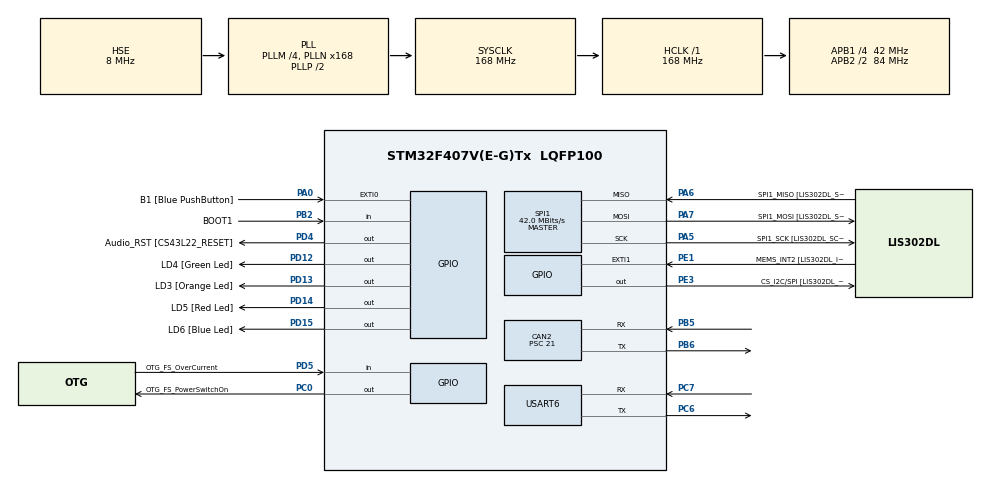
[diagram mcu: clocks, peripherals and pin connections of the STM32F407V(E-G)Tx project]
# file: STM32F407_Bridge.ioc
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CAN2.ABOM=DISABLE
CAN2.AWUM=DISABLE
CAN2.BS1=CAN_BS1_14TQ
CAN2.BS2=CAN_BS2_5TQ
CAN2.CalculateBaudRate=100000
CAN2.CalculateTimeBit=10000
CAN2.CalculateTimeQuantum=500.0
CAN2.Mode=CAN_MODE_NORMAL
CAN2.NART=DISABLE
CAN2.Prescaler=21
CAN2.RFLM=DISABLE
CAN2.SJW=CAN_SJW_1TQ
CAN2.TXFP=DISABLE
Mcu.Family=STM32F4
Mcu.Name=STM32F407V(E-G)Tx
Mcu.Package=LQFP100
NVIC.CAN2_RX0_IRQn=true\:0\:0\:false\:false\:true\:true\:true\:true
NVIC.CAN2_RX1_IRQn=true\:0\:0\:false\:false\:true\:true\:true\:true
NVIC.CAN2_SCE_IRQn=true\:0\:0\:false\:false\:true\:true\:true\:true
NVIC.CAN2_TX_IRQn=true\:0\:0\:false\:false\:true\:true\:true\:true
NVIC.PriorityGroup=NVIC_PRIORITYGROUP_0
NVIC.TIM8_TRG_COM_TIM14_IRQn=true\:0\:0\:false\:false\:true\:true\:true\:true
NVIC.USART6_IRQn=true\:0\:0\:false\:false\:true\:true\:true\:true
PA0-WKUP.GPIO_Label=B1 [Blue PushButton]
PA0-WKUP.GPIO_ModeDefaultEXTI=GPIO_MODE_EVT_RISING
PA0-WKUP.GPIO_PuPd=GPIO_NOPULL
PA0-WKUP.Signal=GPXTI0
PA10.GPIO_Label=OTG_FS_ID
PA10.GPIO_Mode=GPIO_MODE_AF_PP
PA10.GPIO_PuPd=GPIO_NOPULL
PA10.GPIO_Speed=GPIO_SPEED_FREQ_LOW
PA10.Signal=USB_OTG_FS_ID
PA11.GPIO_Label=OTG_FS_DM
PA11.GPIO_Mode=GPIO_MODE_AF_PP
PA11.GPIO_PuPd=GPIO_NOPULL
PA11.GPIO_Speed=GPIO_SPEED_FREQ_LOW
PA11.Signal=USB_OTG_FS_DM
PA12.GPIO_Label=OTG_FS_DP
PA12.GPIO_Mode=GPIO_MODE_AF_PP
PA12.GPIO_PuPd=GPIO_NOPULL
PA12.GPIO_Speed=GPIO_SPEED_FREQ_LOW
PA12.Signal=USB_OTG_FS_DP
PA13.GPIO_Label=SWDIO
PA13.Mode=Serial_Wire
PA13.Signal=SYS_JTMS-SWDIO
PA14.GPIO_Label=SWCLK
PA14.Mode=Serial_Wire
PA14.Signal=SYS_JTCK-SWCLK
PA4.GPIO_Label=I2S3_WS [CS43L22_LRCK]
PA4.GPIO_Mode=GPIO_MODE_AF_PP
PA4.GPIO_PuPd=GPIO_NOPULL
PA4.GPIO_Speed=GPIO_SPEED_FREQ_LOW
PA4.Signal=I2S3_WS
PA5.GPIO_Label=SPI1_SCK [LIS302DL_SCL/SPC]
PA5.GPIO_Mode=GPIO_MODE_AF_PP
PA5.GPIO_PuPd=GPIO_NOPULL
PA5.GPIO_Speed=GPIO_SPEED_FREQ_LOW
PA5.Mode=Full_Duplex_Master
PA5.Signal=SPI1_SCK
PA6.GPIO_Label=SPI1_MISO [LIS302DL_SDO]
PA6.GPIO_Mode=GPIO_MODE_AF_PP
PA6.GPIO_PuPd=GPIO_NOPULL
PA6.GPIO_Speed=GPIO_SPEED_FREQ_LOW
PA6.Mode=Full_Duplex_Master
PA6.Signal=SPI1_MISO
PA7.GPIO_Label=SPI1_MOSI [LIS302DL_SDA/SDI/SDO]
PA7.GPIO_Mode=GPIO_MODE_AF_PP
PA7.GPIO_PuPd=GPIO_NOPULL
PA7.GPIO_Speed=GPIO_SPEED_FREQ_LOW
PA7.Mode=Full_Duplex_Master
PA7.Signal=SPI1_MOSI
PA9.GPIO_Label=VBUS_FS
PA9.GPIO_Mode=GPIO_MODE_INPUT
PA9.GPIO_PuPd=GPIO_NOPULL
PA9.Signal=USB_OTG_FS_VBUS
PB10.GPIO_Label=CLK_IN [MP45DT02_CLK]
PB10.GPIO_Mode=GPIO_MODE_AF_PP
PB10.GPIO_PuPd=GPIO_NOPULL
PB10.GPIO_Speed=GPIO_SPEED_FREQ_LOW
PB10.Signal=I2S2_CK
PB2.GPIO_Label=BOOT1
PB2.GPIO_Mode=GPIO_MODE_INPUT
PB2.GPIO_PuPd=GPIO_NOPULL
PB2.Signal=GPIO_Input
PB3.GPIO_Label=SWO
PB3.Signal=SYS_JTDO-SWO
PB5.Mode=CAN_Activate
PB5.Signal=CAN2_RX
PB6.Mode=CAN_Activate
PB6.Signal=CAN2_TX
PB9.GPIO_Label=Audio_SDA [CS43L22_SDA]
PB9.GPIO_Mode=GPIO_MODE_AF_OD
PB9.GPIO_Pu=GPIO_PULLUP
PB9.GPIO_PuPd=GPIO_NOPULL
PB9.GPIO_Speed=GPIO_SPEED_FREQ_LOW
PB9.Signal=I2C1_SDA
PC0.GPIO_Label=OTG_FS_PowerSwitchOn
PC0.GPIO_PuPd=GPIO_NOPULL
PC0.GPIO_Speed=GPIO_SPEED_FREQ_LOW
PC0.PinState=GPIO_PIN_SET
PC0.Signal=GPIO_Output
PC10.GPIO_Label=I2S3_SCK [CS43L22_SCLK]
PC10.GPIO_Mode=GPIO_MODE_AF_PP
PC10.GPIO_PuPd=GPIO_NOPULL
PC10.GPIO_Speed=GPIO_SPEED_FREQ_LOW
PC10.Signal=I2S3_CK
PC12.GPIO_Label=I2S3_SD [CS43L22_SDIN]
PC12.GPIO_Mode=GPIO_MODE_AF_PP
PC12.GPIO_PuPd=GPIO_NOPULL
PC12.GPIO_Speed=GPIO_SPEED_FREQ_LOW
PC12.Signal=I2S3_SD
PC14-OSC32_IN.GPIO_Label=PC14-OSC32_IN
PC14-OSC32_IN.Mode=LSE-External-Oscillator
PC14-OSC32_IN.Signal=RCC_OSC32_IN
PC15-OSC32_OUT.GPIO_Label=PC15-OSC32_OUT
PC15-OSC32_OUT.Mode=LSE-External-Oscillator
PC15-OSC32_OUT.Signal=RCC_OSC32_OUT
PC3.GPIO_Label=PDM_OUT [MP45DT02_DOUT]
PC3.GPIO_Mode=GPIO_MODE_AF_PP
PC3.GPIO_PuPd=GPIO_NOPULL
PC3.GPIO_Speed=GPIO_SPEED_FREQ_LOW
PC3.Signal=I2S2_SD
PC6.Mode=Asynchronous
PC6.Signal=USART6_TX
PC7.Mode=Asynchronous
PC7.Signal=USART6_RX
PD0.Signal=CAN1_RX
PD12.GPIO_Label=LD4 [Green Led]
PD12.GPIO_PuPd=GPIO_NOPULL
PD12.GPIO_Speed=GPIO_SPEED_FREQ_LOW
PD12.Signal=GPIO_Output
PD13.GPIO_Label=LD3 [Orange Led]
PD13.GPIO_PuPd=GPIO_NOPULL
PD13.GPIO_Speed=GPIO_SPEED_FREQ_LOW
PD13.Signal=GPIO_Output
PD14.GPIO_Label=LD5 [Red Led]
PD14.GPIO_PuPd=GPIO_NOPULL
PD14.GPIO_Speed=GPIO_SPEED_FREQ_LOW
PD14.Signal=GPIO_Output
PD15.GPIO_Label=LD6 [Blue Led]
PD15.GPIO_PuPd=GPIO_NOPULL
PD15.GPIO_Speed=GPIO_SPEED_FREQ_LOW
PD15.Signal=GPIO_Output
PD4.GPIO_Label=Audio_RST [CS43L22_RESET]
PD4.GPIO_PuPd=GPIO_NOPULL
PD4.GPIO_Speed=GPIO_SPEED_FREQ_LOW
PD4.Signal=GPIO_Output
PD5.GPIO_Label=OTG_FS_OverCurrent
PD5.GPIO_Mode=GPIO_MODE_INPUT
PD5.GPIO_PuPd=GPIO_NOPULL
PD5.Signal=GPIO_Input
PE1.GPIO_Label=MEMS_INT2 [LIS302DL_INT2]
PE1.GPIO_ModeDefaultEXTI=GPIO_MODE_EVT_RISING
PE1.GPIO_PuPd=GPIO_NOPULL
PE1.Signal=GPXTI1
PE3.GPIO_Label=CS_I2C/SPI [LIS302DL_CS_I2C/SPI]
PE3.GPIO_PuPd=GPIO_NOPULL
PE3.GPIO_Speed=GPIO_SPEED_FREQ_LOW
PE3.Signal=GPIO_Output
PH0-OSC_IN.GPIO_Label=PH0-OSC_IN
PH0-OSC_IN.Mode=HSE-External-Oscillator
PH0-OSC_IN.Signal=RCC_OSC_IN
PH1-OSC_OUT.GPIO_Label=PH1-OSC_OUT
PH1-OSC_OUT.Mode=HSE-External-Oscillator
PH1-OSC_OUT.Signal=RCC_OSC_OUT
ProjectManager.HeapSize=0x200
ProjectManager.StackSize=0x400
ProjectManager.TargetToolchain=STM32CubeIDE
RCC.48MHZClocksFreq_Value=48000000
RCC.AHBFreq_Value=168000000
RCC.APB1CLKDivider=RCC_HCLK_DIV4
RCC.APB1Freq_Value=42000000
RCC.APB1TimFreq_Value=84000000
RCC.APB2CLKDivider=RCC_HCLK_DIV2
RCC.APB2Freq_Value=84000000
RCC.APB2TimFreq_Value=168000000
RCC.CortexFreq_Value=168000000
RCC.HCLKFreq_Value=168000000
RCC.HSE_VALUE=8000000
RCC.HSI_VALUE=16000000
RCC.PLLI2SN=50
RCC.PLLM=4
RCC.PLLN=168
RCC.PLLQ=7
RCC.PLLSourceVirtual=RCC_PLLSOURCE_HSE
RCC.SYSCLKFreq_VALUE=168000000
RCC.SYSCLKSource=RCC_SYSCLKSOURCE_PLLCLK
RCC.VCOOutputFreq_Value=336000000
SPI1.BaudRatePrescaler=SPI_BAUDRATEPRESCALER_2
SPI1.BaudRatePrescaler-Full_Duplex_Master=SPI_BAUDRATEPRESCALER_2
SPI1.CalculateBaudRate=42.0 MBits/s
SPI1.CalculateBaudRate-Full_Duplex_Master=42.0 MBits/s
SPI1.Direction=SPI_DIRECTION_2LINES
SPI1.Mode=SPI_MODE_MASTER
SPI1.Mode-Full_Duplex_Master=SPI_MODE_MASTER
SPI1.VirtualType=VM_MASTER
TIM14.Period=1000
TIM14.Prescaler=83
USART6.VirtualMode=VM_ASYNC
VP_TIM14_VS_ClockSourceINT.Mode=Enable_Timer
board=STM32F407G-DISC1

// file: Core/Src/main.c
/* USER CODE BEGIN Header */
/**
  ******************************************************************************
  * @file           : main.c
  * @brief          : Main program body
  ******************************************************************************
  * @attention
  *
  * Copyright (c) 2022 STMicroelectronics.
  * All rights reserved.
  *
  * This software is licensed under terms that can be found in the LICENSE file
  * in the root directory of this software component.
  * If no LICENSE file comes with this software, it is provided AS-IS.
  *
  ******************************************************************************
  */
/* USER CODE END Header */
#include "main.h"

/* USER CODE BEGIN Includes */
#include <stdio.h>
#include "CO_app_STM32.h"
#include "UART_Queue.h"
/* USER CODE END Includes */

/* USER CODE BEGIN PD */
#define log_printf(macropar_message, ...) printf(macropar_message, ##__VA_ARGS__)
#define CANOPEN_ID 5
/* USER CODE END PD */

CAN_HandleTypeDef hcan2;

SPI_HandleTypeDef hspi1;

TIM_HandleTypeDef htim14;

UART_HandleTypeDef huart6;

void SystemClock_Config(void);
static void MX_GPIO_Init(void);
static void MX_SPI1_Init(void);
static void MX_TIM14_Init(void);
static void MX_CAN2_Init(void);
static void MX_USART6_UART_Init(void);
/* USER CODE BEGIN PFP */
void RTC_Monitor(void);
/* USER CODE END PFP */

/* USER CODE BEGIN 0 */
/* Timer interrupt function executes every 1 ms */
void
HAL_TIM_PeriodElapsedCallback(TIM_HandleTypeDef* htim) {
    if (htim == canopenNodeSTM32->timerHandle) {
        canopen_app_interrupt();
    }
}
/* USER CODE END 0 */

int main(void)
{

  /* MCU Configuration--------------------------------------------------------*/

  /* Reset of all peripherals, Initializes the Flash interface and the Systick. */
  HAL_Init();

  /* Configure the system clock */
  SystemClock_Config();

  /* Initialize all configured peripherals */
  MX_GPIO_Init();
  MX_SPI1_Init();
  MX_TIM14_Init();
  MX_CAN2_Init();
  MX_USART6_UART_Init();
  /* USER CODE BEGIN 2 */
  CANopenNodeSTM32 canOpenNodeSTM32;
  canOpenNodeSTM32.CANHandle = &hcan2;
  canOpenNodeSTM32.HWInitFunction = MX_CAN2_Init;
  canOpenNodeSTM32.timerHandle = &htim14;
  canOpenNodeSTM32.desiredNodeID = CANOPEN_ID;
  canOpenNodeSTM32.baudrate = 100;
  canopen_app_init(&canOpenNodeSTM32);
  /* USER CODE END 2 */

  /* Infinite loop */
  /* USER CODE BEGIN WHILE */
  while (1)
  {
	  HAL_GPIO_WritePin(LD3_GPIO_Port, LD3_Pin, !canOpenNodeSTM32.outStatusLEDGreen);
	  HAL_GPIO_WritePin(LD4_GPIO_Port, LD4_Pin, !canOpenNodeSTM32.outStatusLEDRed);
	  canopen_app_process();
	  ProcessUartQueue();
    /* USER CODE END WHILE */

  }
}

void SystemClock_Config(void)
{
  RCC_OscInitTypeDef RCC_OscInitStruct = {0};
  RCC_ClkInitTypeDef RCC_ClkInitStruct = {0};

  /** Configure the main internal regulator output voltage
  */
  __HAL_RCC_PWR_CLK_ENABLE();
  __HAL_PWR_VOLTAGESCALING_CONFIG(PWR_REGULATOR_VOLTAGE_SCALE1);

  /** Initializes the RCC Oscillators according to the specified parameters
  * in the RCC_OscInitTypeDef structure.
  */
  RCC_OscInitStruct.OscillatorType = RCC_OSCILLATORTYPE_HSE;
  RCC_OscInitStruct.HSEState = RCC_HSE_ON;
  RCC_OscInitStruct.PLL.PLLState = RCC_PLL_ON;
  RCC_OscInitStruct.PLL.PLLSource = RCC_PLLSOURCE_HSE;
  RCC_OscInitStruct.PLL.PLLM = 4;
  RCC_OscInitStruct.PLL.PLLN = 168;
  RCC_OscInitStruct.PLL.PLLP = RCC_PLLP_DIV2;
  RCC_OscInitStruct.PLL.PLLQ = 7;
  if (HAL_RCC_OscConfig(&RCC_OscInitStruct) != HAL_OK)
  {
    Error_Handler();
  }

  /** Initializes the CPU, AHB and APB buses clocks
  */
  RCC_ClkInitStruct.ClockType = RCC_CLOCKTYPE_HCLK|RCC_CLOCKTYPE_SYSCLK
                              |RCC_CLOCKTYPE_PCLK1|RCC_CLOCKTYPE_PCLK2;
  RCC_ClkInitStruct.SYSCLKSource = RCC_SYSCLKSOURCE_PLLCLK;
  RCC_ClkInitStruct.AHBCLKDivider = RCC_SYSCLK_DIV1;
  RCC_ClkInitStruct.APB1CLKDivider = RCC_HCLK_DIV4;
  RCC_ClkInitStruct.APB2CLKDivider = RCC_HCLK_DIV2;

  if (HAL_RCC_ClockConfig(&RCC_ClkInitStruct, FLASH_LATENCY_5) != HAL_OK)
  {
    Error_Handler();
  }
}

static void MX_CAN2_Init(void)
{

  hcan2.Instance = CAN2;
  hcan2.Init.Prescaler = 21;
  hcan2.Init.Mode = CAN_MODE_NORMAL;
  hcan2.Init.SyncJumpWidth = CAN_SJW_1TQ;
  hcan2.Init.TimeSeg1 = CAN_BS1_14TQ;
  hcan2.Init.TimeSeg2 = CAN_BS2_5TQ;
  hcan2.Init.TimeTriggeredMode = DISABLE;
  hcan2.Init.AutoBusOff = DISABLE;
  hcan2.Init.AutoWakeUp = DISABLE;
  hcan2.Init.AutoRetransmission = DISABLE;
  hcan2.Init.ReceiveFifoLocked = DISABLE;
  hcan2.Init.TransmitFifoPriority = DISABLE;
  if (HAL_CAN_Init(&hcan2) != HAL_OK)
  {
    Error_Handler();
  }

}

static void MX_SPI1_Init(void)
{

  /* SPI1 parameter configuration*/
  hspi1.Instance = SPI1;
  hspi1.Init.Mode = SPI_MODE_MASTER;
  hspi1.Init.Direction = SPI_DIRECTION_2LINES;
  hspi1.Init.DataSize = SPI_DATASIZE_8BIT;
  hspi1.Init.CLKPolarity = SPI_POLARITY_LOW;
  hspi1.Init.CLKPhase = SPI_PHASE_1EDGE;
  hspi1.Init.NSS = SPI_NSS_SOFT;
  hspi1.Init.BaudRatePrescaler = SPI_BAUDRATEPRESCALER_2;
  hspi1.Init.FirstBit = SPI_FIRSTBIT_MSB;
  hspi1.Init.TIMode = SPI_TIMODE_DISABLE;
  hspi1.Init.CRCCalculation = SPI_CRCCALCULATION_DISABLE;
  hspi1.Init.CRCPolynomial = 10;
  if (HAL_SPI_Init(&hspi1) != HAL_OK)
  {
    Error_Handler();
  }

}

static void MX_TIM14_Init(void)
{

  htim14.Instance = TIM14;
  htim14.Init.Prescaler = 83;
  htim14.Init.CounterMode = TIM_COUNTERMODE_UP;
  htim14.Init.Period = 1000;
  htim14.Init.ClockDivision = TIM_CLOCKDIVISION_DIV1;
  htim14.Init.AutoReloadPreload = TIM_AUTORELOAD_PRELOAD_DISABLE;
  if (HAL_TIM_Base_Init(&htim14) != HAL_OK)
  {
    Error_Handler();
  }

}

static void MX_USART6_UART_Init(void)
{

  huart6.Instance = USART6;
  huart6.Init.BaudRate = 115200;
  huart6.Init.WordLength = UART_WORDLENGTH_8B;
  huart6.Init.StopBits = UART_STOPBITS_1;
  huart6.Init.Parity = UART_PARITY_NONE;
  huart6.Init.Mode = UART_MODE_TX_RX;
  huart6.Init.HwFlowCtl = UART_HWCONTROL_NONE;
  huart6.Init.OverSampling = UART_OVERSAMPLING_16;
  if (HAL_UART_Init(&huart6) != HAL_OK)
  {
    Error_Handler();
  }

}

static void MX_GPIO_Init(void)
{
  GPIO_InitTypeDef GPIO_InitStruct = {0};

  /* GPIO Ports Clock Enable */
  __HAL_RCC_GPIOE_CLK_ENABLE();
  __HAL_RCC_GPIOC_CLK_ENABLE();
  __HAL_RCC_GPIOH_CLK_ENABLE();
  __HAL_RCC_GPIOA_CLK_ENABLE();
  __HAL_RCC_GPIOB_CLK_ENABLE();
  __HAL_RCC_GPIOD_CLK_ENABLE();

  /*Configure GPIO pin Output Level */
  HAL_GPIO_WritePin(CS_I2C_SPI_GPIO_Port, CS_I2C_SPI_Pin, GPIO_PIN_RESET);

  /*Configure GPIO pin Output Level */
  HAL_GPIO_WritePin(OTG_FS_PowerSwitchOn_GPIO_Port, OTG_FS_PowerSwitchOn_Pin, GPIO_PIN_SET);

  /*Configure GPIO pin Output Level */
  HAL_GPIO_WritePin(GPIOD, LD4_Pin|LD3_Pin|LD5_Pin|LD6_Pin
                          |Audio_RST_Pin, GPIO_PIN_RESET);

  /*Configure GPIO pin : CS_I2C_SPI_Pin */
  GPIO_InitStruct.Pin = CS_I2C_SPI_Pin;
  GPIO_InitStruct.Mode = GPIO_MODE_OUTPUT_PP;
  GPIO_InitStruct.Pull = GPIO_NOPULL;
  GPIO_InitStruct.Speed = GPIO_SPEED_FREQ_LOW;
  HAL_GPIO_Init(CS_I2C_SPI_GPIO_Port, &GPIO_InitStruct);

  /*Configure GPIO pin : OTG_FS_PowerSwitchOn_Pin */
  GPIO_InitStruct.Pin = OTG_FS_PowerSwitchOn_Pin;
  GPIO_InitStruct.Mode = GPIO_MODE_OUTPUT_PP;
  GPIO_InitStruct.Pull = GPIO_NOPULL;
  GPIO_InitStruct.Speed = GPIO_SPEED_FREQ_LOW;
  HAL_GPIO_Init(OTG_FS_PowerSwitchOn_GPIO_Port, &GPIO_InitStruct);

  /*Configure GPIO pin : PDM_OUT_Pin */
  GPIO_InitStruct.Pin = PDM_OUT_Pin;
  GPIO_InitStruct.Mode = GPIO_MODE_AF_PP;
  GPIO_InitStruct.Pull = GPIO_NOPULL;
  GPIO_InitStruct.Speed = GPIO_SPEED_FREQ_LOW;
  GPIO_InitStruct.Alternate = GPIO_AF5_SPI2;
  HAL_GPIO_Init(PDM_OUT_GPIO_Port, &GPIO_InitStruct);

  /*Configure GPIO pin : B1_Pin */
  GPIO_InitStruct.Pin = B1_Pin;
  GPIO_InitStruct.Mode = GPIO_MODE_EVT_RISING;
  GPIO_InitStruct.Pull = GPIO_NOPULL;
  HAL_GPIO_Init(B1_GPIO_Port, &GPIO_InitStruct);

  /*Configure GPIO pin : I2S3_WS_Pin */
  GPIO_InitStruct.Pin = I2S3_WS_Pin;
  GPIO_InitStruct.Mode = GPIO_MODE_AF_PP;
  GPIO_InitStruct.Pull = GPIO_NOPULL;
  GPIO_InitStruct.Speed = GPIO_SPEED_FREQ_LOW;
  GPIO_InitStruct.Alternate = GPIO_AF6_SPI3;
  HAL_GPIO_Init(I2S3_WS_GPIO_Port, &GPIO_InitStruct);

  /*Configure GPIO pin : BOOT1_Pin */
  GPIO_InitStruct.Pin = BOOT1_Pin;
  GPIO_InitStruct.Mode = GPIO_MODE_INPUT;
  GPIO_InitStruct.Pull = GPIO_NOPULL;
  HAL_GPIO_Init(BOOT1_GPIO_Port, &GPIO_InitStruct);

  /*Configure GPIO pin : CLK_IN_Pin */
  GPIO_InitStruct.Pin = CLK_IN_Pin;
  GPIO_InitStruct.Mode = GPIO_MODE_AF_PP;
  GPIO_InitStruct.Pull = GPIO_NOPULL;
  GPIO_InitStruct.Speed = GPIO_SPEED_FREQ_LOW;
  GPIO_InitStruct.Alternate = GPIO_AF5_SPI2;
  HAL_GPIO_Init(CLK_IN_GPIO_Port, &GPIO_InitStruct);

  /*Configure GPIO pins : LD4_Pin LD3_Pin LD5_Pin LD6_Pin
                           Audio_RST_Pin */
  GPIO_InitStruct.Pin = LD4_Pin|LD3_Pin|LD5_Pin|LD6_Pin
                          |Audio_RST_Pin;
  GPIO_InitStruct.Mode = GPIO_MODE_OUTPUT_PP;
  GPIO_InitStruct.Pull = GPIO_NOPULL;
  GPIO_InitStruct.Speed = GPIO_SPEED_FREQ_LOW;
  HAL_GPIO_Init(GPIOD, &GPIO_InitStruct);

  /*Configure GPIO pin : VBUS_FS_Pin */
  GPIO_InitStruct.Pin = VBUS_FS_Pin;
  GPIO_InitStruct.Mode = GPIO_MODE_INPUT;
  GPIO_InitStruct.Pull = GPIO_NOPULL;
  HAL_GPIO_Init(VBUS_FS_GPIO_Port, &GPIO_InitStruct);

  /*Configure GPIO pins : OTG_FS_ID_Pin OTG_FS_DM_Pin OTG_FS_DP_Pin */
  GPIO_InitStruct.Pin = OTG_FS_ID_Pin|OTG_FS_DM_Pin|OTG_FS_DP_Pin;
  GPIO_InitStruct.Mode = GPIO_MODE_AF_PP;
  GPIO_InitStruct.Pull = GPIO_NOPULL;
  GPIO_InitStruct.Speed = GPIO_SPEED_FREQ_LOW;
  GPIO_InitStruct.Alternate = GPIO_AF10_OTG_FS;
  HAL_GPIO_Init(GPIOA, &GPIO_InitStruct);

  /*Configure GPIO pins : I2S3_SCK_Pin I2S3_SD_Pin */
  GPIO_InitStruct.Pin = I2S3_SCK_Pin|I2S3_SD_Pin;
  GPIO_InitStruct.Mode = GPIO_MODE_AF_PP;
  GPIO_InitStruct.Pull = GPIO_NOPULL;
  GPIO_InitStruct.Speed = GPIO_SPEED_FREQ_LOW;
  GPIO_InitStruct.Alternate = GPIO_AF6_SPI3;
  HAL_GPIO_Init(GPIOC, &GPIO_InitStruct);

  /*Configure GPIO pin : PD0 */
  GPIO_InitStruct.Pin = GPIO_PIN_0;
  GPIO_InitStruct.Mode = GPIO_MODE_AF_PP;
  GPIO_InitStruct.Pull = GPIO_NOPULL;
  GPIO_InitStruct.Speed = GPIO_SPEED_FREQ_VERY_HIGH;
  GPIO_InitStruct.Alternate = GPIO_AF9_CAN1;
  HAL_GPIO_Init(GPIOD, &GPIO_InitStruct);

  /*Configure GPIO pin : OTG_FS_OverCurrent_Pin */
  GPIO_InitStruct.Pin = OTG_FS_OverCurrent_Pin;
  GPIO_InitStruct.Mode = GPIO_MODE_INPUT;
  GPIO_InitStruct.Pull = GPIO_NOPULL;
  HAL_GPIO_Init(OTG_FS_OverCurrent_GPIO_Port, &GPIO_InitStruct);

  /*Configure GPIO pin : Audio_SDA_Pin */
  GPIO_InitStruct.Pin = Audio_SDA_Pin;
  GPIO_InitStruct.Mode = GPIO_MODE_AF_OD;
  GPIO_InitStruct.Pull = GPIO_PULLUP;
  GPIO_InitStruct.Speed = GPIO_SPEED_FREQ_LOW;
  GPIO_InitStruct.Alternate = GPIO_AF4_I2C1;
  HAL_GPIO_Init(Audio_SDA_GPIO_Port, &GPIO_InitStruct);

  /*Configure GPIO pin : MEMS_INT2_Pin */
  GPIO_InitStruct.Pin = MEMS_INT2_Pin;
  GPIO_InitStruct.Mode = GPIO_MODE_EVT_RISING;
  GPIO_InitStruct.Pull = GPIO_NOPULL;
  HAL_GPIO_Init(MEMS_INT2_GPIO_Port, &GPIO_InitStruct);

}

/* USER CODE BEGIN 4 */
__STATIC_INLINE uint32_t My_ITM_SendChar (uint32_t ch)
{
  if (((ITM->TCR & ITM_TCR_ITMENA_Msk) != 0UL) &&      /* ITM enabled */
      ((ITM->TER & 1UL               ) != 0UL)   )     /* ITM Port #0 enabled */
  {
    while (ITM->PORT[ITM_CHANNEL].u32 == 0UL)
    {
      __NOP();
    }
    ITM->PORT[ITM_CHANNEL].u8 = (uint8_t)ch;
  }
  return (ch);
}

int _write(int file, char *ptr, int len) {
	int i;
	for(i = 0; i < len; i++) {
		My_ITM_SendChar(*ptr++);
	}
	return len;
}
/* USER CODE END 4 */

void Error_Handler(void)
{
  __disable_irq();
  while (1)
  {
  }
}
